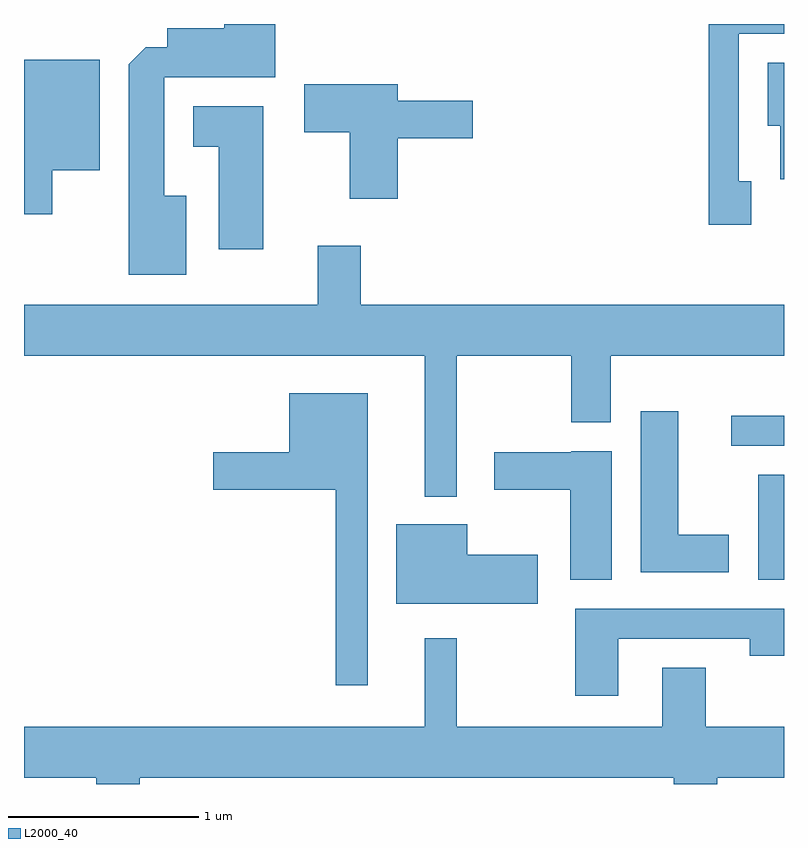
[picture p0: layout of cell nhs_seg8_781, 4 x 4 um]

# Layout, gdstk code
import gdstk
lib = gdstk.Library(unit=1e-6, precision=1e-09)
def R(c, l, rs):  # rectangles x0, y0, x1, y1
    for r in rs: c.add(gdstk.rectangle(r[:2], r[2:], *l))
def P(c, l, *ps):  # polygons
    for p in ps: c.add(gdstk.Polygon(p, *l))
L2000_40 = (2000, 40)

nhs_seg8_781 = lib.new_cell('nhs_seg8_781')
R(nhs_seg8_781, L2000_40, [(211.476,1877.416,211.611,1877.969), (211.333,1878.121,211.611,1878.279)])
P(nhs_seg8_781, L2000_40, [(208.135,1880.342),(207.611,1880.342),(207.611,1880.341),(208.134,1880.341)],
  [(211.439,1879.514),(211.374,1879.514),(211.374,1880.291),(211.611,1880.291),(211.611,1880.342),(211.216,1880.342),(211.216,1879.286),(211.439,1879.286)],
  [(208.464,1879.439),(208.349,1879.439),(208.349,1880.061),(208.934,1880.061),(208.934,1880.342),(208.666,1880.342),(208.666,1880.319),(208.366,1880.319),(208.366,1880.219),(208.252,1880.219),(208.161,1880.129),(208.161,1879.021),(208.464,1879.021)],
  [(207.759,1879.571),(208.009,1879.571),(208.009,1880.154),(207.611,1880.154),(207.611,1879.341),(207.759,1879.341)],
  [(211.611,1880.139),(211.526,1880.139),(211.526,1879.806),(211.591,1879.806),(211.591,1879.526),(211.611,1879.526)],
  [(209.579,1879.741),(209.974,1879.741),(209.974,1879.939),(209.579,1879.939),(209.579,1880.024),(209.086,1880.024),(209.086,1879.771),(209.326,1879.771),(209.326,1879.421),(209.579,1879.421)],
  [(208.869,1879.909),(208.501,1879.909),(208.501,1879.696),(208.636,1879.696),(208.636,1879.156),(208.869,1879.156)],
  [(209.889,1878.596),(210.491,1878.596),(210.491,1878.246),(210.699,1878.246),(210.699,1878.596),(211.611,1878.596),(211.611,1878.864),(209.384,1878.864),(209.384,1879.174),(209.156,1879.174),(209.156,1878.864),(207.611,1878.864),(207.611,1878.596),(209.721,1878.596),(209.721,1877.853),(209.889,1877.853)],
  [(209.419,1878.399),(209.006,1878.399),(209.006,1878.089),(208.606,1878.089),(208.606,1877.891),(209.251,1877.891),(209.251,1876.863),(209.419,1876.863)],
  [(211.319,1877.654),(211.054,1877.654),(211.054,1878.304),(210.856,1878.304),(210.856,1877.456),(211.319,1877.456)],
  [(210.704,1878.094),(210.49,1878.094),(210.49,1878.089),(210.086,1878.089),(210.086,1877.891),(210.486,1877.891),(210.486,1877.416),(210.704,1877.416)],
  [(210.314,1877.549),(209.944,1877.549),(209.944,1877.709),(209.571,1877.709),(209.571,1877.291),(210.314,1877.291)],
  [(210.739,1877.106),(211.431,1877.106),(211.431,1877.016),(211.611,1877.016),(211.611,1877.264),(210.511,1877.264),(210.511,1876.806),(210.739,1876.806)],
  [(208.219,1876.376),(211.031,1876.376),(211.031,1876.342),(211.259,1876.342),(211.259,1876.376),(211.611,1876.376),(211.611,1876.644),(211.199,1876.644),(211.199,1876.954),(210.971,1876.954),(210.971,1876.644),(209.889,1876.644),(209.889,1877.108),(209.721,1877.108),(209.721,1876.644),(207.611,1876.644),(207.611,1876.376),(207.991,1876.376),(207.991,1876.342),(208.219,1876.342)])

lib.write_gds('nhs_seg8_781.gds')
